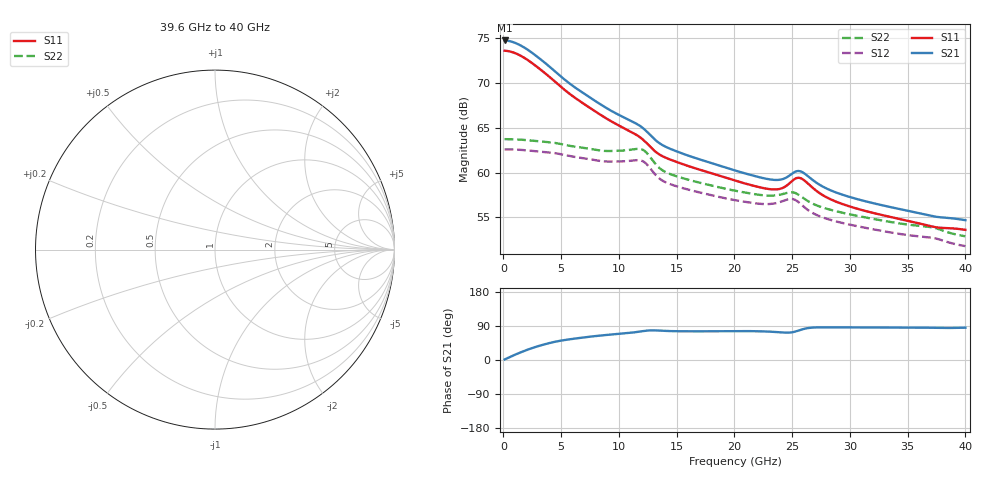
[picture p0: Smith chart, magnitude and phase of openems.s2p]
! D_s8_cap_2: L1 (ref L2 GND) → L3 (ref L4 PWR), capacitor GND–PWR at 2 mm
! stackup: 8-layer 1.6 mm FR-4 (generic)
! ports: 1, 2
! openEMS 0.37.0, staircase, fine mesh (dfine 0.0175 mm), 2066652 cells
# Hz S RI R 50
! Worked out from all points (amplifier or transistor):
!   400 points, 100 MHz to 40 GHz, reference 50 ohm
!   highest |S21| = 74.7 dB at 100 MHz (marker M1)
!   |S21| within 3 dB of that: start of sweep to 4.068 GHz
!   unconditionally stable (mu >= 1): nowhere
!   at 6.7 GHz: K = 1.34, MSG = 3.7 dB, |S12| = 61.6 dB
!   at 20.1 GHz: K = 27.52, MSG = 1.6 dB, |S12| = 56.9 dB
!   at 40 GHz: K = 6.17, MSG = 1.4 dB, |S12| = 51.8 dB
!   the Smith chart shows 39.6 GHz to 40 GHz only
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1e8  -4759 -118.3  5428 134.8  1346 10.16  -1534 -11.56
7e8  -4620 -802  5270 914.2  1343 71  -1530 -80.76
1.5e9  -4183 -1549  4773 1766  1329 151  -1514 -171.7
2.1e9  -3753 -1945  4281 2217  1311 207.6  -1494 -236.1
2.8e9  -3225 -2228  3680 2541  1287 267.6  -1467 -304.6
3.8e9  -2535 -2392  2892 2727  1250 350.9  -1425 -399.9
4.8e9  -1964 -2356  2242 2684  1196 431.6  -1363 -491.2
5.7e9  -1591 -2243  1821 2556  1138 482.8  -1298 -548.9
6.8e9  -1259 -2101  1442 2398  1081 535.2  -1234 -609.3
8.6e9  -861.2 -1868  989 2134  985.7 603.6  -1128 -687.7
1.14e10  -464.8 -1569  543.8 1806  866.2 787.2  -998.4 -909.5
1.24e10  -318.7 -1423  366.7 1653  685.4 877.6  -780.9 -1024
1.34e10  -286.4 -1241  311.6 1440  533.3 772.7  -594.1 -895.8
1.57e10  -286 -1066  309.7 1223  473.6 661.6  -527.6 -757.9
2.01e10  -224.1 -871.5  241.3 995.8  380.8 588.4  -421.2 -669.6
2.36e10  -244.8 -767.5  252.9 873.5  356 574.3  -384.3 -640.2
2.49e10  -286.6 -839.1  290.3 932.3  316.9 639.8  -352.2 -692.9
2.57e10  -179.9 -914.2  190 998.5  230.5 631  -275.1 -688.7
2.67e10  -57.58 -828.9  74.13 914.3  189.9 568.3  -232.4 -633.6
2.9e10  -39.41 -679.8  54.05 764.5  174.5 501.4  -208.5 -568.1
3.34e10  -42.09 -566.9  52.57 642.7  147.6 441.7  -172.8 -503.6
4e10  -40.89 -478.3  45.38 541.4  102.4 375.8  -118.8 -425.7
